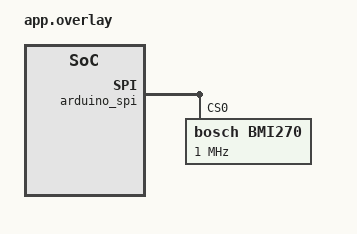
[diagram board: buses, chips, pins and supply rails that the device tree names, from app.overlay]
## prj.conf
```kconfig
CONFIG_STDOUT_CONSOLE=y
CONFIG_SPI=y
CONFIG_SENSOR=y
```

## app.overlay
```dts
/*
 * Copyright (c) 2021 Bosch Sensortec GmbH
 *
 * SPDX-License-Identifier: Apache-2.0
 */

&arduino_spi {
	status = "okay";
	bmi270@0 {
		compatible = "bosch,bmi270";
		reg = <0x0>;
		spi-max-frequency = <1000000>;
	};
};
```

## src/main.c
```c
/*
 * Copyright (c) 2021 Bosch Sensortec GmbH
 *
 * SPDX-License-Identifier: Apache-2.0
 */

#include <zephyr/kernel.h>
#include <zephyr/device.h>
#include <zephyr/drivers/sensor.h>
#include <stdio.h>
#include <../../../../drivers/sensor/bmi270/bmi270.h>

struct bmi270_feature_reg bmi270_feature_reg_anymo_1 = {
	.page = 1,
	.addr = 0x3C,
};

struct bmi270_feature_reg bmi270_feature_reg_anymo_2 = {
	.page = 1,
	.addr = 0x3E,
};

int bmi270_feature_reg_write(const struct device *dev,
							 const struct bmi270_feature_reg *reg,
							 uint16_t value)
{
	int ret;
	uint8_t feat_page = reg->page;

	ret = bmi270_reg_write(dev, BMI270_REG_FEAT_PAGE, &feat_page, 1);
	if (ret < 0)
	{
		printf("bmi270_reg_write (0x%02x) failed: %d", BMI270_REG_FEAT_PAGE, ret);
		return ret;
	}

	printf("feature reg[0x%02x]@%d = 0x%04x \n", reg->addr, reg->page, value);

	ret = bmi270_reg_write(dev, reg->addr, (uint8_t *)&value, 2);
	if (ret < 0)
	{
		printf("bmi270_reg_write (0x%02x) failed: %d", reg->addr, ret);
		return ret;
	}

	return 0;
}

int bmi270_feature_reg_read(const struct device *dev,
							const struct bmi270_feature_reg *reg,
							uint16_t *value)
{
	int ret;
	uint8_t feat_page = reg->page;

	ret = bmi270_reg_write(dev, BMI270_REG_FEAT_PAGE, &feat_page, 1);
	if (ret < 0)
	{
		printf("bmi270_reg_write (0x%02x) failed: %d", BMI270_REG_FEAT_PAGE, ret);
		return ret;
	}

	printf("feature reg[0x%02x]@%d = 0x%04x \n", reg->addr, reg->page, value);

	ret = bmi270_reg_read(dev, reg->addr, (uint8_t *)value, 2);
	if (ret < 0)
	{
		printf("bmi270_reg_read (0x%02x) failed: %d", reg->addr, ret);
		return ret;
	}

	return 0;
}

void main(void)
{
	const struct device *const dev = DEVICE_DT_GET_ONE(bosch_bmi270);
	struct sensor_value acc[3], gyr[3];
	struct sensor_value full_scale, sampling_freq, oversampling;
	int ret;

	if (!device_is_ready(dev))
	{
		printf("Device %s is not ready\n", dev->name);
		return;
	}

	printf("Device %p name is %s\n", dev, dev->name);
	
	k_sleep(K_MSEC(1));
	uint16_t reg_value;
	uint16_t no_motion_reg_value = 0xE005;
	uint8_t pwr_conf = 0x0;
	uint8_t feat_page = 0x2;
	uint8_t int1_map_feat = 0b01000000;
	uint8_t internal_status;
	uint8_t internal_error;
	uint8_t err;

	ret = bmi270_reg_read(dev, BMI270_REG_PWR_CONF, &reg_value, 1);
	printf("ret pwr_conf_read: %d\n", ret);
	printf("reg_value pwr_conf: %x\n\n", reg_value);

	ret = bmi270_reg_write(dev, BMI270_REG_PWR_CONF, &pwr_conf, 1);
	printf("ret pwr_conf_write: %d\n\n", ret);

	ret = bmi270_reg_read(dev, BMI270_REG_PWR_CONF, &reg_value, 1);
	printf("ret pwr_conf_read: %d\n", ret);
	printf("reg_value pwr_conf: %d\n\n", reg_value);

	ret = bmi270_reg_write(dev, BMI270_REG_FEAT_PAGE, &feat_page, 1);
	printf("ret feat_page_write: %d\n", ret);
	ret = bmi270_reg_read(dev, BMI270_REG_FEAT_PAGE, &reg_value, 1);
	printf("ret feat_page_read: %d\n", ret);
	printf("reg_value feat_page: %d\n\n", reg_value);

	ret = bmi270_reg_read(dev, 0x34, &reg_value, 2);
	printf("ret 0x34_read: %d\n", ret);
	printf("reg_value 0x34: %d\n\n", reg_value);

	ret = bmi270_reg_read(dev, BMI270_REG_FEAT_PAGE, &reg_value, 1);
	printf("ret feat_page_read: %d\n", ret);
	printf("reg_value feat_page: %d\n\n", reg_value);

	ret = bmi270_reg_read(dev, BMI270_REG_INTERNAL_STATUS, &internal_status, 1);
	printf("ret internal_status_read: %d\n", ret);
	printf("internal_status: %x\n\n", internal_status);

	ret = bmi270_reg_read(dev, BMI270_REG_INTERNAL_ERROR, &internal_error, 1);
	printf("ret internal_error_read: %d\n", ret);
	printf("internal_error: %x\n\n", internal_error);

	ret = bmi270_reg_read(dev, BMI270_REG_ERROR, &err, 1);
	printf("ret err_read: %d\n", ret);
	printf("err: %x\n\n", err);

	ret = bmi270_reg_write(dev, 0x30, (uint8_t *)&no_motion_reg_value, 2);
	printf("ret no_motion_reg_write: %d\n", ret);
	ret = bmi270_reg_read(dev, 0x30, &reg_value, 2);
	printf("ret no_motion_reg_read: %d\n", ret);
	printf("reg_value no_motion_reg: %d\n\n", reg_value);

	ret = bmi270_reg_read(dev, BMI270_REG_FEAT_PAGE, &reg_value, 1);
	printf("ret feat_page_read: %d\n", ret);
	printf("reg_value feat_page: %d\n\n", reg_value);



	ret = bmi270_reg_read(dev, BMI270_REG_INT1_MAP_FEAT, &reg_value, 1);
	printf("ret int1_map_feat_read: %d\n", ret);
	printf("reg_value int1_map_feat: %x\n\n", reg_value);

	ret = bmi270_reg_write(dev, BMI270_REG_INT1_MAP_FEAT, &int1_map_feat, 1);
	printf("ret int1_map_feat_write: %d\n\n", ret);

	ret = bmi270_reg_read(dev, BMI270_REG_INT1_MAP_FEAT, &reg_value, 1);
	printf("ret int1_map_feat_read: %d\n", ret);
	printf("reg_value int1_map_feat: %x\n\n", reg_value);


	ret = bmi270_feature_reg_read(dev, &bmi270_feature_reg_anymo_1, &reg_value);
	printf("reg_value: %d\n", reg_value);
	ret = bmi270_feature_reg_write(dev, &bmi270_feature_reg_anymo_1, 0xE005);
	ret = bmi270_feature_reg_read(dev, &bmi270_feature_reg_anymo_1, &reg_value);
	printf("reg_value: %d\n", reg_value);

	/* Setting scale in G, due to loss of precision if the SI unit m/s^2
	 * is used
	 */
	full_scale.val1 = 2; /* G */
	full_scale.val2 = 0;
	sampling_freq.val1 = 800; /* Hz. Performance mode */
	sampling_freq.val2 = 0;
	oversampling.val1 = 1; /* Normal mode */
	oversampling.val2 = 0;

	sensor_attr_set(dev, SENSOR_CHAN_ACCEL_XYZ, SENSOR_ATTR_FULL_SCALE,
					&full_scale);
	sensor_attr_set(dev, SENSOR_CHAN_ACCEL_XYZ, SENSOR_ATTR_OVERSAMPLING,
					&oversampling);
	/* Set sampling frequency last as this also sets the appropriate
	 * power mode. If already sampling, change to 0.0Hz before changing
	 * other attributes
	 */
	sensor_attr_set(dev, SENSOR_CHAN_ACCEL_XYZ,
					SENSOR_ATTR_SAMPLING_FREQUENCY,
					&sampling_freq);

	/* Setting scale in degrees/s to match the sensor scale */
	full_scale.val1 = 500; /* dps */
	full_scale.val2 = 0;
	sampling_freq.val1 = 100; /* Hz. Performance mode */
	sampling_freq.val2 = 0;
	oversampling.val1 = 1; /* Normal mode */
	oversampling.val2 = 0;

	sensor_attr_set(dev, SENSOR_CHAN_GYRO_XYZ, SENSOR_ATTR_FULL_SCALE,
					&full_scale);
	sensor_attr_set(dev, SENSOR_CHAN_GYRO_XYZ, SENSOR_ATTR_OVERSAMPLING,
					&oversampling);
	/* Set sampling frequency last as this also sets the appropriate
	 * power mode. If already sampling, change sampling frequency to
	 * 0.0Hz before changing other attributes
	 */
	sensor_attr_set(dev, SENSOR_CHAN_GYRO_XYZ,
					SENSOR_ATTR_SAMPLING_FREQUENCY,
					&sampling_freq);

	while (1)
	{
		/* 10ms period, 100Hz Sampling frequency */
		k_sleep(K_MSEC(1000));

		sensor_sample_fetch(dev);

		sensor_channel_get(dev, SENSOR_CHAN_ACCEL_XYZ, acc);
		sensor_channel_get(dev, SENSOR_CHAN_GYRO_XYZ, gyr);

		printf("AX: %d.%06d; AY: %d.%06d; AZ: %d.%06d; "
			   "GX: %d.%06d; GY: %d.%06d; GZ: %d.%06d;\n",
			   acc[0].val1, acc[0].val2,
			   acc[1].val1, acc[1].val2,
			   acc[2].val1, acc[2].val2,
			   gyr[0].val1, gyr[0].val2,
			   gyr[1].val1, gyr[1].val2,
			   gyr[2].val1, gyr[2].val2);
	}
}
```
